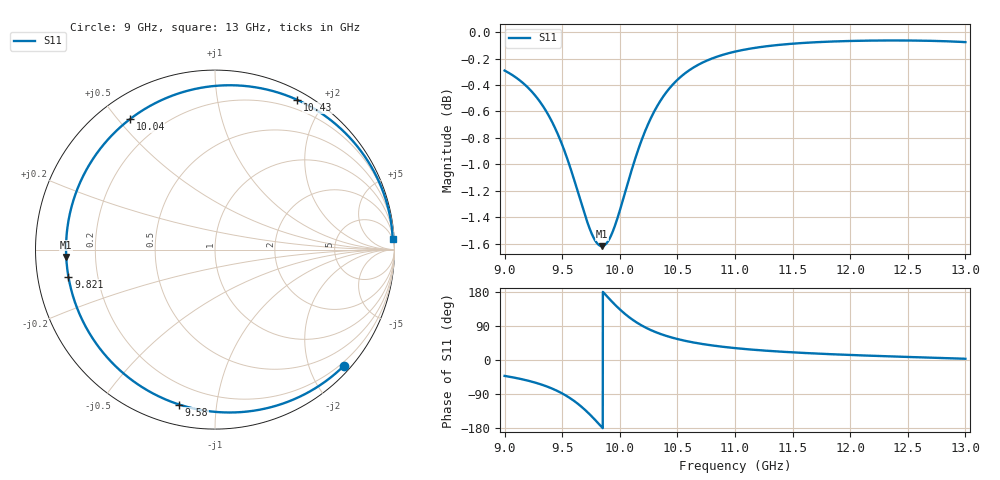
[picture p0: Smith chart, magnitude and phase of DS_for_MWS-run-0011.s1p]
! TOUCHSTONE file generated by CST DESIGN STUDIO
! Date and time: Tue Feb  4 17:04:32 2025
! Project name: C:\Work\MatlabApps\UnitCellOptimizationMatlab\CST\unitcell.cst
! Tree item: Tasks\Sweep1\SPara1\S-Parameters
! Header version: 2024
! Port assignment regex: !\s*Touchstone port\s*([0-9]+)\s*=\s*(CST MWS port|CST DES external port|CST DES block port)\s*(.+)\s* \(\"(.*)\"\)(\s*mode\s*([0-9]+))?.*
! Touchstone port assignment:
! Touchstone port 1 = CST DES external port 1 ("")
# GHz S MA R 50
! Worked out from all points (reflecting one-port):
!   4001 points, 9 GHz to 13 GHz, reference 50 ohm
!   lowest |S11| = -1.6 dB at 9.844 GHz (marker M1), VSWR 10.76, Z = 4.65 - j1.21 ohm
!   phase of S11 starts at -42 deg and turns -315 deg over the sweep
!   S11 on the Smith chart (normalised r, x): 9 GHz: 0.13, -2.60; 9.58 GHz: 0.10, -0.79; 9.821 GHz: 0.09, -0.09; 10.04 GHz: 0.09, +0.54; 10.43 GHz: 0.09, +1.69; 13 GHz: 5, +34
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9  0.9671 -42.0
9.147  0.9576 -50.5
9.279  0.9447 -60.9
9.393  0.9282 -73.0
9.5  0.9065 -88.2
9.58  0.886 -103.0
9.641  0.8686 -116.7
9.698  0.8527 -131.6
9.764  0.8376 -151.2
9.821  0.8306 -169.6
9.844  0.83 -177.2
9.88  0.8316 170.8
9.916  0.8362 159.1
9.959  0.8452 145.6
10  0.8561 133.6
10.039  0.8676 123.1
10.111  0.8892 106.2
10.193  0.9111 90.6
10.307  0.9347 74.1
10.43  0.9521 61.1
10.5  0.9593 55.4
10.601  0.9672 48.5
10.716  0.9737 42.3
11  0.9831 31.4
11.5  0.9899 20.2
12  0.9923 13.3
12.5  0.9927 8.1
13  0.9913 3.3
